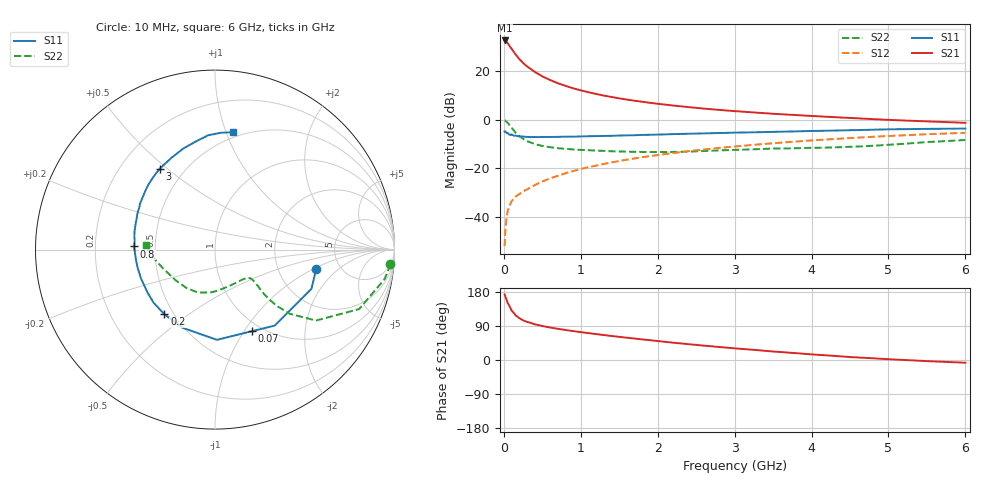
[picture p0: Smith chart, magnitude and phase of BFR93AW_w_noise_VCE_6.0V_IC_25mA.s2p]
! Infineon Technologies  Discrete & RF Semiconductors
! BFR93AW
! VCE =  6.0 V,  IC =  25 mA
! Common Emitter S-Parameters:  Jan 2017
# GHz  S  MA  R  50
!  f  S11  S21  S12  S22
! GHz  MAG  ANG  MAG  ANG  MAG  ANG  MAG  ANG
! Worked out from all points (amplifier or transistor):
!   77 points, 10 MHz to 6 GHz, reference 50 ohm
!   highest |S21| = 32.7 dB at 10 MHz (marker M1)
!   |S21| within 3 dB of that: start of sweep to 90.54 MHz
!   unconditionally stable (mu >= 1): 642 MHz to 2.035 GHz
!   at 130 MHz: K = 0.48, MSG = 30.2 dB, |S12| = -32.4 dB
!   at 2.2 GHz: K = 0.99, MSG = 9.8 dB, |S12| = -13.7 dB
!   at 6 GHz: K = 0.87, MSG = 2.1 dB, |S12| = -5.3 dB
!   lowest NFmin = 1.66 dB at 450 MHz
!   S11 on the Smith chart (normalised r, x): 10 MHz: 3.31, -1.08; 70 MHz: 0.89, -1.08; 200 MHz: 0.45, -0.41; 800 MHz: 0.38, +0.02; 3 GHz: 0.37, +0.47; 6 GHz: 0.45, +1.06
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0.01  0.574 -11.0  43.19 173.2  0.0025 86.7  0.9808 -4.8
0.02  0.58 -22.1  43.07 167.2  0.0054 87.6  0.96 -9.8
0.05  0.5386 -51.8  38.08 150.3  0.0132 71.1  0.869 -22.4
0.07  0.4987 -65.8  34.08 143.6  0.0162 66.7  0.7919 -26.8
0.1  0.5029 -88.8  29.23 130.5  0.0209 62.5  0.6872 -35.1
0.15  0.4714 -112.5  22.54 118.4  0.026 58.4  0.5503 -40.6
0.2  0.4575 -128.1  17.99 110.5  0.0295 59.0  0.4629 -42.4
0.25  0.4523 -139.3  14.91 104.7  0.0337 59.0  0.4062 -42.5
0.3  0.4458 -147.2  12.64 100.6  0.0367 60.3  0.3653 -42.1
0.4  0.4426 -158.6  9.74 94.3  0.0451 63.1  0.3179 -40.5
0.5  0.4428 -166.7  7.87 89.7  0.0535 65.4  0.2901 -39.4
0.6  0.444 -172.9  6.623 85.8  0.0622 66.9  0.2728 -38.9
0.7  0.4465 -177.9  5.703 82.4  0.0701 68.4  0.2609 -38.7
0.8  0.4508 177.8  5.022 79.2  0.0793 69.0  0.2528 -39.1
1.1  0.4599 167.0  3.706 71.0  0.1059 69.2  0.237 -42.5
1.5  0.4748 156.0  2.77 61.2  0.1418 68.0  0.2229 -50.6
2.1  0.5022 142.0  2.057 47.9  0.1977 64.3  0.2174 -68.6
3  0.5458 124.4  1.513 30.7  0.2824 56.9  0.241 -97.4
3.1  0.5487 122.6  1.475 29.2  0.2917 55.9  0.243 -100.3
4.1  0.5935 106.0  1.18 13.5  0.3857 45.9  0.2668 -129.4
5.1  0.6406 92.0  0.985 1.1  0.4727 34.9  0.3136 -162.6
6  0.6617 81.4  0.869 -7.2  0.5412 24.6  0.3846 176.4
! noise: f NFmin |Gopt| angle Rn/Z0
0.45  1.66  0.17  171  0.16
0.9  1.93  0.25  -177  0.16
1.9  2.93  0.49  -136  0.25
2.4  3.59  0.55  -125  0.5
